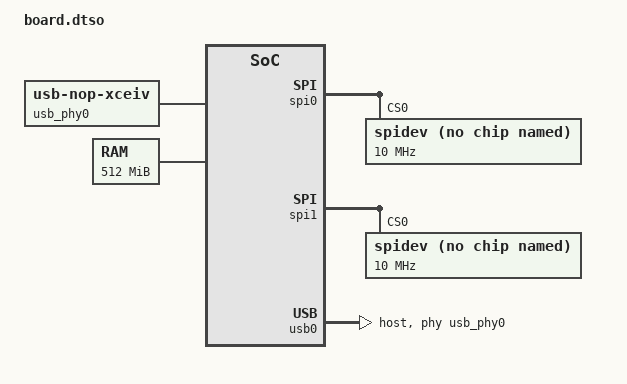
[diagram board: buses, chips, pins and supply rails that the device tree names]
/dts-v1/;
/plugin/;

/ {
	fragment@0 {
		target-path = "/";
		__overlay__ {
			usb_phy0: phy1 {
				#phy-cells = <0>;
				compatible = "usb-nop-xceiv";
			};
		};
	};

	fragment@1 {
		target = <&spi0>;
		__overlay__ {
			#address-cells = <1>;
			#size-cells = <0>;
			spidev@0 {
				compatible = "rohm,dh2228fv";
				reg = <0x0>;
				spi-max-frequency = <10000000>;
			};
		};
	};

	fragment@2 {
		target = <&spi1>;
		__overlay__ {
			#address-cells = <1>;
			#size-cells = <0>;
			spidev@0 {
				compatible = "rohm,dh2228fv";
				reg = <0x0>;
				spi-max-frequency = <10000000>;
			};
		};
	};

	fragment@3 {
        target-path = "/";
        __overlay__ {
			#address-cells = <1>;
			#size-cells = <1>;

			memory@0 {
			device_type = "memory";
			reg = <0x00000000 0x20000000>; // 512 MiB
			};

			reserved-memory {
				#address-cells = <1>;
				#size-cells = <1>;
				ranges;

				// Instruments address this DMA ring directly, without a CMA
				// allocation. Linux must never allocate or cache these pages.
				dma_buffer: dma-buffer@18000000 {
					reg = <0x18000000 0x08000000>; // 128 MiB
					no-map;
				};
			};
		};
	};


	fragment@4 {
		target = <&usb0>;
		__overlay__ {
			dr_mode = "host";
			usb-phy = <&usb_phy0>;
			/delete-property/ phy_type;
		};
	};

};
